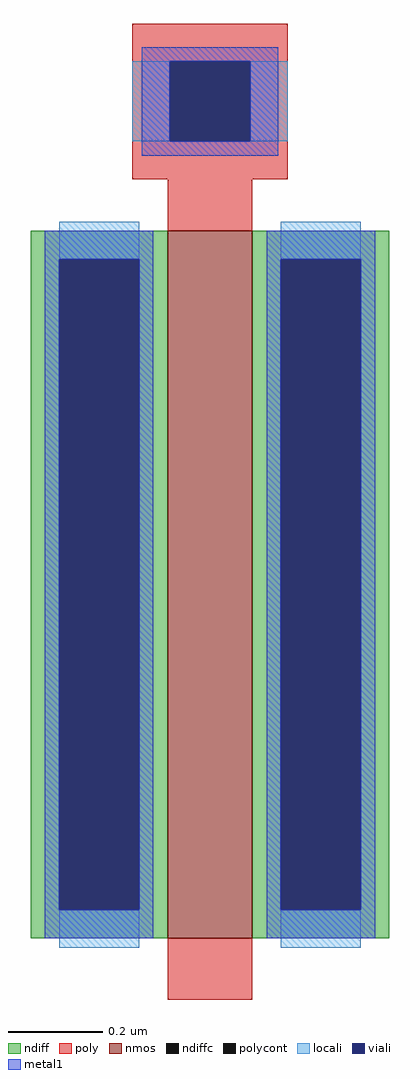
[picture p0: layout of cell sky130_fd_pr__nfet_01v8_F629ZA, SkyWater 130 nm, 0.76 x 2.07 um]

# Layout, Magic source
magic
tech sky130A
magscale 1 2
<< nmos >>
rect -18 -181 18 119
<< ndiff >>
rect -76 107 -18 119
rect -76 -169 -64 107
rect -30 -169 -18 107
rect -76 -181 -18 -169
rect 18 107 76 119
rect 18 -169 30 107
rect 64 -169 76 107
rect 18 -181 76 -169
<< ndiffc >>
rect -64 -169 -30 107
rect 30 -169 64 107
<< poly >>
rect -33 191 33 207
rect -33 157 -17 191
rect 17 157 33 191
rect -33 141 33 157
rect -18 119 18 141
rect -18 -207 18 -181
<< polycont >>
rect -17 157 17 191
<< locali >>
rect -33 157 -17 191
rect 17 157 33 191
rect -64 107 -30 123
rect -64 -185 -30 -169
rect 30 107 64 123
rect 30 -185 64 -169
<< viali >>
rect -17 157 17 191
rect -64 -169 -30 107
rect 30 -169 64 107
<< metal1 >>
rect -29 191 29 197
rect -29 157 -17 191
rect 17 157 29 191
rect -29 151 29 157
rect -70 107 -24 119
rect -70 -169 -64 107
rect -30 -169 -24 107
rect -70 -181 -24 -169
rect 24 107 70 119
rect 24 -169 30 107
rect 64 -169 70 107
rect 24 -181 70 -169
<< properties >>
string gencell sky130_fd_pr__nfet_01v8
string library sky130
string parameters w 1.5 l 0.18 m 1 nf 1 diffcov 100 polycov 100 guard 0 glc 0 grc 0 gtc 0 gbc 0 tbcov 100 rlcov 100 topc 1 botc 0 poverlap 0 doverlap 0 lmin 0.15 wmin 0.42 compatible {sky130_fd_pr__nfet_01v8 sky130_fd_pr__nfet_01v8_lvt  sky130_fd_bs_flash__special_sonosfet_star  sky130_fd_pr__nfet_g5v0d10v5 sky130_fd_pr__nfet_05v0_nvt  sky130_fd_pr__nfet_03v3_nvt} full_metal 0 viasrc 100 viadrn 100 viagate 100 viagb 0 viagr 0 viagl 0 viagt 0
<< end >>
